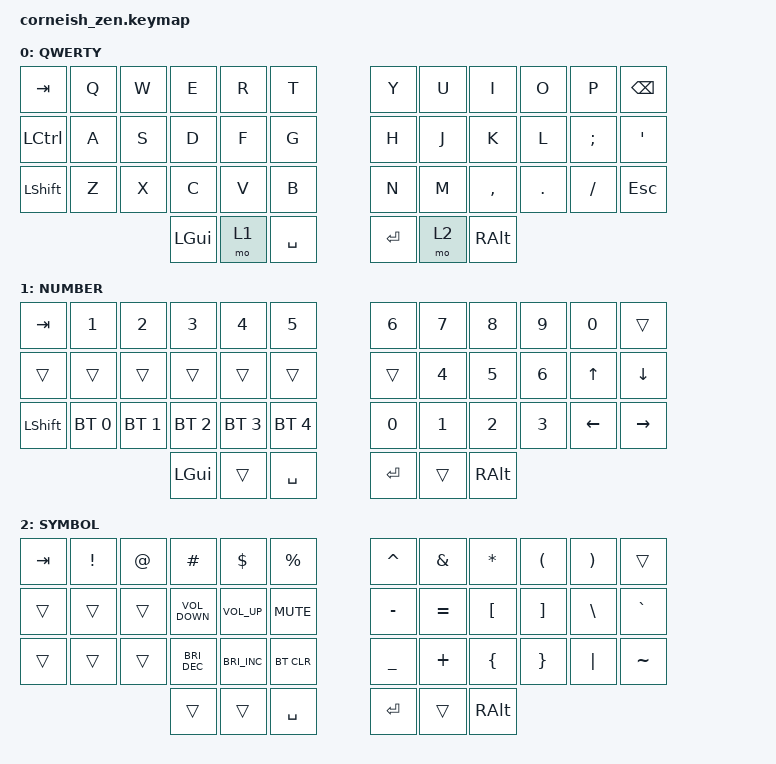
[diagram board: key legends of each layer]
#include <behaviors.dtsi>
#include <dt-bindings/zmk/bt.h>
#include <dt-bindings/zmk/keys.h>

/ {
    chosen {
        zmk,matrix_transform = &default_transform;

        //zmk,matrix_transform = &five_column_transform;
    };
};

/ {
    combos {
        compatible = "zmk,combos";

        numpad_up {
            bindings = <&kp UP>;
            key-positions = <24 8>;
            timeout-ms = <1000>;
            layers = <1>;
        };

        numpad_down {
            bindings = <&kp DOWN>;
            key-positions = <24 20>;
            timeout-ms = <1000>;
            layers = <1>;
        };

        numpad_left {
            bindings = <&kp LEFT>;
            key-positions = <24 19>;
            timeout-ms = <1000>;
            layers = <1>;
        };

        numpad_right {
            bindings = <&kp RIGHT>;
            key-positions = <24 21>;
            timeout-ms = <1000>;
            layers = <1>;
        };
    };

    keymap {
        compatible = "zmk,keymap";

        default_layer {
            label = "QWERTY";

            // -----------------------------------------------------------------------------------------
            // |  TAB |  Q  |  W  |  E  |  R  |  T  |   |  Y  |  U   |  I  |  O  |  P  | BKSP |
            // | CTRL |  A  |  S  |  D  |  F  |  G  |   |  H  |  J   |  K  |  L  |  ;  |  '   |
            // | SHFT |  Z  |  X  |  C  |  V  |  B  |   |  N  |  M   |  ,  |  .  |  /  | ESC  |
            //                    | GUI | LWR | SPC |   | ENT | RSE  | ALT |

            bindings = <
   &kp TAB  &kp Q  &kp W         &kp E  &kp R      &kp T      &kp Y  &kp U      &kp I    &kp O     &kp P  &kp BACKSPACE
 &kp LCTRL  &kp A  &kp S         &kp D  &kp F      &kp G      &kp H  &kp J      &kp K    &kp L  &kp SEMI        &kp SQT
&kp LSHIFT  &kp Z  &kp X         &kp C  &kp V      &kp B      &kp N  &kp M  &kp COMMA  &kp DOT  &kp FSLH        &kp ESC
                          &kp LEFT_GUI  &mo 1  &kp SPACE    &kp RET  &mo 2   &kp RALT
            >;
        };

        lower_layer {
            label = "NUMBER";

            // -----------------------------------------------------------------------------------------
            // |  TAB |  1  |  2  |  3  |  4  |  5  |   |  6  |  7  |  8  |  9  |  0  | BKSP |
            // | BTCLR| BT1 | BT2 | BT3 | BT4 | BT5 |   | LFT | DWN |  UP | RGT |     |      |
            // | SHFT |     |     |     |     |     |   |     |     |     |     |     |      |
            //                    | GUI |     | SPC |   | ENT |     | ALT |

            bindings = <
   &kp TAB        &kp N1        &kp N2        &kp N3        &kp N4        &kp N5     &kp N6  &kp N7    &kp N8  &kp N9    &kp N0     &trans
    &trans        &trans        &trans        &trans        &trans        &trans     &trans  &kp N4    &kp N5  &kp N6    &kp UP   &kp DOWN
&kp LSHIFT  &bt BT_SEL 0  &bt BT_SEL 1  &bt BT_SEL 2  &bt BT_SEL 3  &bt BT_SEL 4     &kp N0  &kp N1    &kp N2  &kp N3  &kp LEFT  &kp RIGHT
                                            &kp LGUI        &trans     &kp SPACE    &kp RET  &trans  &kp RALT
            >;
        };

        raise_layer {
            label = "SYMBOL";

            // -----------------------------------------------------------------------------------------
            // |  TAB |  !  |  @  |  #  |  $  |  %  |   |  ^  |  &  |  *  |  (  |  )  | BKSP |
            // | CTRL |     |     |     |     |     |   |  -  |  =  |  [  |  ]  |  \  |  `   |
            // | SHFT |     |     |     |     |     |   |  _  |  +  |  {  |  }  | "|" |  ~   |
            //                    | GUI |     | SPC |   | ENT |     | ALT |

            bindings = <
&kp TAB  &kp EXCL  &kp AT              &kp HASH              &kp DLLR   &kp PRCNT    &kp CARET   &kp AMPS  &kp STAR  &kp LPAR  &kp RPAR     &trans
 &trans    &trans  &trans     &kp C_VOLUME_DOWN       &kp C_VOLUME_UP  &kp C_MUTE    &kp MINUS  &kp EQUAL  &kp LBKT  &kp RBKT  &kp BSLH  &kp GRAVE
 &trans    &trans  &trans  &kp C_BRIGHTNESS_DEC  &kp C_BRIGHTNESS_INC  &bt BT_CLR    &kp UNDER   &kp PLUS  &kp LBRC  &kp RBRC  &kp PIPE  &kp TILDE
                                         &trans                &trans   &kp SPACE      &kp RET     &trans  &kp RALT
            >;
        };
    };
};
